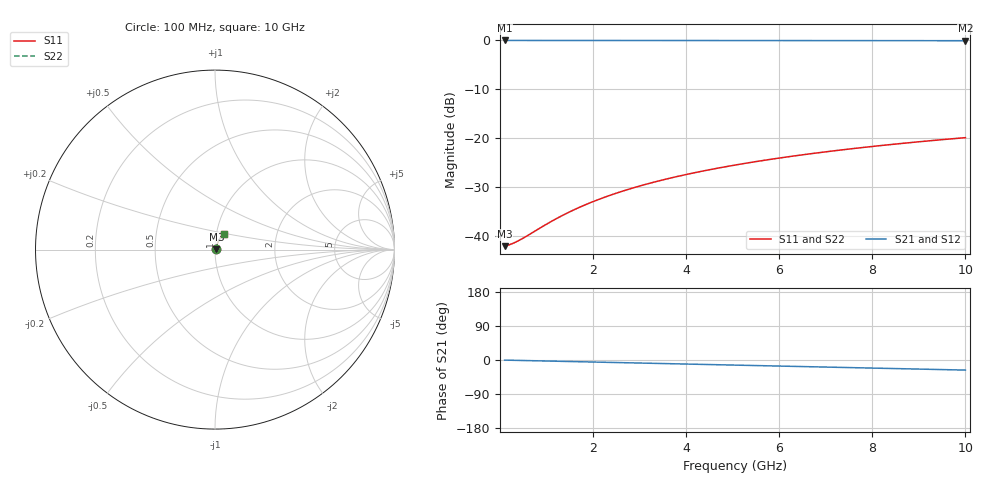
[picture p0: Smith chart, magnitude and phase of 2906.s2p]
# Hz S RI R 50.00
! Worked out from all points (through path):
!   100 points, 100 MHz to 10 GHz, reference 50 ohm
!   highest |S21| = -0.07 dB at 100 MHz (marker M1); lowest = -0.1 dB at 10 GHz (marker M2)
!   group delay of S21, straight-line fit = 7.4 ps
!   lowest |S11| = -42.1 dB at 100 MHz (marker M3), VSWR 1.02, Z = 50.8 + j0.103 ohm
!   |S11| at or under -10 dB: start of sweep to end of sweep
!   |S22| runs from -42.1 to -19.9 dB; largest |S21 - S12| = 0
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1e8  0.00782 0.00101  0.9922 -0.00462  0.9922 -0.00462  0.00782 0.00101
2e8  0.00788 0.00202  0.9921 -0.00924  0.9921 -0.00924  0.00788 0.00202
3e8  0.00794 0.00304  0.992 -0.0139  0.992 -0.0139  0.00794 0.00304
4e8  0.008 0.00405  0.9919 -0.0185  0.9919 -0.0185  0.008 0.00405
6e8  0.00815 0.00607  0.9916 -0.0277  0.9916 -0.0277  0.00815 0.00607
1e9  0.00852 0.0101  0.9908 -0.0462  0.9908 -0.0462  0.00852 0.0101
1.2e9  0.00875 0.0121  0.9903 -0.0554  0.9903 -0.0554  0.00875 0.0121
1.5e9  0.00917 0.0151  0.9893 -0.0692  0.9893 -0.0692  0.00917 0.0151
1.8e9  0.00967 0.0181  0.9881 -0.083  0.9881 -0.083  0.00967 0.0181
2.1e9  0.0103 0.0211  0.9868 -0.0968  0.9868 -0.0968  0.0103 0.0211
2.5e9  0.0112 0.025  0.9847 -0.1151  0.9847 -0.1151  0.0112 0.025
2.9e9  0.0122 0.0289  0.9822 -0.1334  0.9822 -0.1334  0.0122 0.0289
3.4e9  0.0137 0.0337  0.9786 -0.1562  0.9786 -0.1562  0.0137 0.0337
3.8e9  0.0151 0.0375  0.9754 -0.1744  0.9754 -0.1744  0.0151 0.0375
4.2e9  0.0166 0.0413  0.9717 -0.1924  0.9717 -0.1924  0.0166 0.0413
4.6e9  0.0182 0.045  0.9678 -0.2104  0.9678 -0.2104  0.0182 0.045
5.1e9  0.0205 0.0495  0.9624 -0.2328  0.9624 -0.2328  0.0205 0.0495
5.9e9  0.0245 0.0564  0.9525 -0.2683  0.9525 -0.2683  0.0245 0.0564
6.7e9  0.029 0.0631  0.9414 -0.3033  0.9414 -0.3033  0.029 0.0631
7.5e9  0.034 0.0694  0.9289 -0.3378  0.9289 -0.3378  0.034 0.0694
8.4e9  0.0402 0.076  0.9133 -0.376  0.9133 -0.376  0.0402 0.076
1e10  0.0525 0.0863  0.8816 -0.4419  0.8816 -0.4419  0.0525 0.0863
